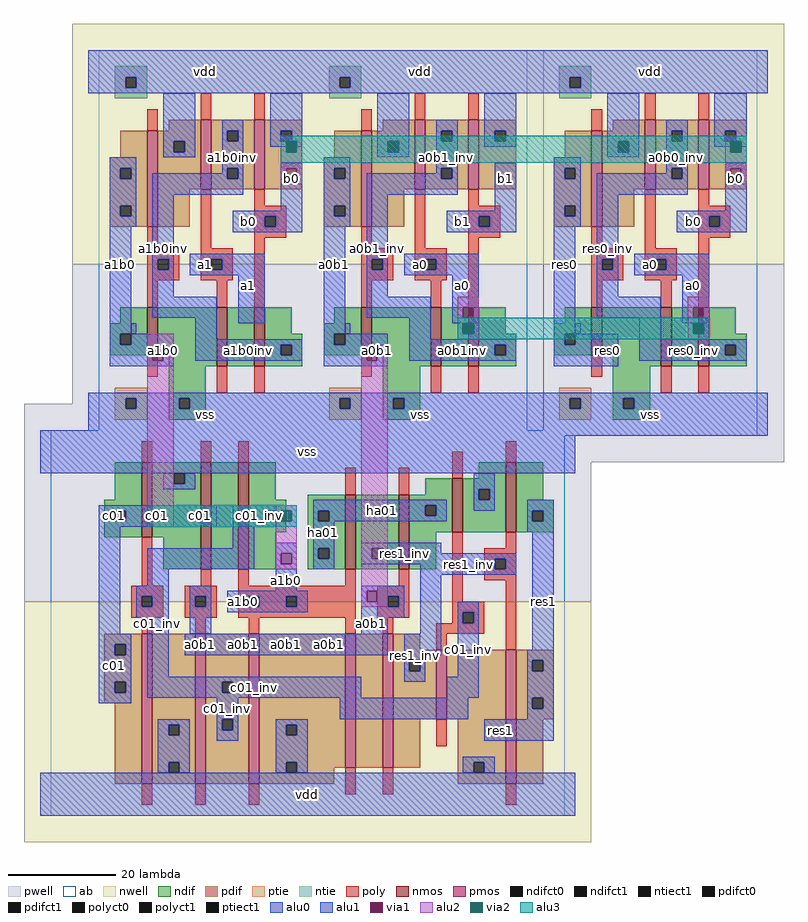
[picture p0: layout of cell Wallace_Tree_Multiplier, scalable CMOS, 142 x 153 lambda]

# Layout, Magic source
magic
tech scmos
<< ab >>
rect -35 6 45 77
rect 48 6 88 77
rect -44 5 88 6
rect -44 -66 52 5
<< nwell >>
rect -40 37 93 82
rect -49 -71 57 -26
<< pwell >>
rect -40 11 93 37
rect -49 0 93 11
rect -49 -26 57 0
<< poly >>
rect -26 62 -24 66
rect -16 64 -14 69
rect -6 64 -4 69
rect 14 62 16 66
rect 24 64 26 69
rect 34 64 36 69
rect -26 40 -24 44
rect -16 40 -14 51
rect -6 48 -4 51
rect -6 46 0 48
rect -6 44 -4 46
rect -2 44 0 46
rect 57 62 59 66
rect 67 64 69 69
rect 77 64 79 69
rect -6 42 0 44
rect -26 38 -20 40
rect -26 36 -24 38
rect -22 36 -20 38
rect -26 34 -20 36
rect -16 38 -10 40
rect -16 36 -14 38
rect -12 36 -10 38
rect -16 34 -10 36
rect -26 29 -24 34
rect -13 29 -11 34
rect -6 29 -4 42
rect 14 40 16 44
rect 24 40 26 51
rect 34 48 36 51
rect 34 46 40 48
rect 34 44 36 46
rect 38 44 40 46
rect 34 42 40 44
rect 14 38 20 40
rect 14 36 16 38
rect 18 36 20 38
rect 14 34 20 36
rect 24 38 30 40
rect 24 36 26 38
rect 28 36 30 38
rect 24 34 30 36
rect 14 29 16 34
rect 27 29 29 34
rect 34 29 36 42
rect 57 40 59 44
rect 67 40 69 51
rect 77 48 79 51
rect 77 46 83 48
rect 77 44 79 46
rect 81 44 83 46
rect 77 42 83 44
rect 57 38 63 40
rect 57 36 59 38
rect 61 36 63 38
rect 57 34 63 36
rect 67 38 73 40
rect 67 36 69 38
rect 71 36 73 38
rect 67 34 73 36
rect 57 29 59 34
rect 70 29 72 34
rect 77 29 79 42
rect -26 16 -24 20
rect -13 13 -11 18
rect -6 13 -4 18
rect 14 16 16 20
rect 27 13 29 18
rect 34 13 36 18
rect 57 16 59 20
rect 70 13 72 18
rect 77 13 79 18
rect -27 0 -25 4
rect -16 0 -14 4
rect -9 0 -7 4
rect -27 -23 -25 -14
rect 11 -6 13 -1
rect 21 -6 23 -1
rect 31 -3 33 2
rect 41 0 43 4
rect -16 -23 -14 -20
rect -9 -23 -7 -20
rect 11 -23 13 -20
rect 21 -23 23 -20
rect -29 -25 -23 -23
rect -29 -27 -27 -25
rect -25 -27 -23 -25
rect -29 -29 -23 -27
rect -19 -25 -13 -23
rect -19 -27 -17 -25
rect -15 -27 -13 -25
rect -19 -29 -13 -27
rect -9 -25 13 -23
rect -9 -27 -7 -25
rect -5 -27 0 -25
rect 2 -27 13 -25
rect -9 -29 13 -27
rect 17 -25 23 -23
rect 17 -27 19 -25
rect 21 -27 23 -25
rect 17 -29 23 -27
rect 31 -26 33 -13
rect 41 -16 43 -13
rect 37 -18 43 -16
rect 37 -20 39 -18
rect 41 -20 43 -18
rect 37 -22 43 -20
rect 31 -28 37 -26
rect -27 -32 -25 -29
rect -17 -32 -15 -29
rect -7 -32 -5 -29
rect 11 -32 13 -29
rect 18 -32 20 -29
rect 31 -30 33 -28
rect 35 -30 37 -28
rect 28 -32 37 -30
rect 28 -35 30 -32
rect 41 -35 43 -22
rect 28 -53 30 -48
rect -27 -64 -25 -60
rect -17 -64 -15 -60
rect -7 -64 -5 -60
rect 11 -62 13 -57
rect 18 -62 20 -57
rect 41 -64 43 -60
<< ndif >>
rect -31 26 -26 29
rect -33 24 -26 26
rect -33 22 -31 24
rect -29 22 -26 24
rect -33 20 -26 22
rect -24 20 -13 29
rect -22 18 -13 20
rect -11 18 -6 29
rect -4 24 1 29
rect 9 26 14 29
rect 7 24 14 26
rect -4 22 3 24
rect -4 20 -1 22
rect 1 20 3 22
rect 7 22 9 24
rect 11 22 14 24
rect 7 20 14 22
rect 16 20 27 29
rect -4 18 3 20
rect -22 12 -15 18
rect 18 18 27 20
rect 29 18 34 29
rect 36 24 41 29
rect 52 26 57 29
rect 50 24 57 26
rect 36 22 43 24
rect 36 20 39 22
rect 41 20 43 22
rect 50 22 52 24
rect 54 22 57 24
rect 50 20 57 22
rect 59 20 70 29
rect 36 18 43 20
rect -22 10 -20 12
rect -18 10 -15 12
rect -22 8 -15 10
rect 18 12 25 18
rect 61 18 70 20
rect 72 18 77 29
rect 79 24 84 29
rect 79 22 86 24
rect 79 20 82 22
rect 84 20 86 22
rect 79 18 86 20
rect 18 10 20 12
rect 22 10 25 12
rect 18 8 25 10
rect 61 12 68 18
rect 61 10 63 12
rect 65 10 68 12
rect 61 8 68 10
rect -32 -7 -27 0
rect -34 -9 -27 -7
rect -34 -11 -32 -9
rect -30 -11 -27 -9
rect -34 -14 -27 -11
rect -25 -2 -16 0
rect -25 -4 -21 -2
rect -19 -4 -16 -2
rect -25 -14 -16 -4
rect -23 -20 -16 -14
rect -14 -20 -9 0
rect -7 -7 -2 0
rect 36 -3 41 0
rect 26 -6 31 -3
rect -7 -9 0 -7
rect -7 -11 -4 -9
rect -2 -11 0 -9
rect -7 -13 0 -11
rect 4 -9 11 -6
rect 4 -11 6 -9
rect 8 -11 11 -9
rect -7 -20 -2 -13
rect 4 -16 11 -11
rect 4 -18 6 -16
rect 8 -18 11 -16
rect 4 -20 11 -18
rect 13 -16 21 -6
rect 13 -18 16 -16
rect 18 -18 21 -16
rect 13 -20 21 -18
rect 23 -8 31 -6
rect 23 -10 26 -8
rect 28 -10 31 -8
rect 23 -13 31 -10
rect 33 -5 41 -3
rect 33 -7 36 -5
rect 38 -7 41 -5
rect 33 -13 41 -7
rect 43 -7 48 0
rect 43 -9 50 -7
rect 43 -11 46 -9
rect 48 -11 50 -9
rect 43 -13 50 -11
rect 23 -20 28 -13
<< pdif >>
rect -22 62 -16 64
rect -31 57 -26 62
rect -33 55 -26 57
rect -33 53 -31 55
rect -29 53 -26 55
rect -33 48 -26 53
rect -33 46 -31 48
rect -29 46 -26 48
rect -33 44 -26 46
rect -24 60 -16 62
rect -24 58 -21 60
rect -19 58 -16 60
rect -24 51 -16 58
rect -14 62 -6 64
rect -14 60 -11 62
rect -9 60 -6 62
rect -14 55 -6 60
rect -14 53 -11 55
rect -9 53 -6 55
rect -14 51 -6 53
rect -4 62 3 64
rect 18 62 24 64
rect -4 60 -1 62
rect 1 60 3 62
rect -4 51 3 60
rect 9 57 14 62
rect 7 55 14 57
rect 7 53 9 55
rect 11 53 14 55
rect -24 44 -18 51
rect 7 48 14 53
rect 7 46 9 48
rect 11 46 14 48
rect 7 44 14 46
rect 16 60 24 62
rect 16 58 19 60
rect 21 58 24 60
rect 16 51 24 58
rect 26 62 34 64
rect 26 60 29 62
rect 31 60 34 62
rect 26 55 34 60
rect 26 53 29 55
rect 31 53 34 55
rect 26 51 34 53
rect 36 62 43 64
rect 61 62 67 64
rect 36 60 39 62
rect 41 60 43 62
rect 36 51 43 60
rect 52 57 57 62
rect 50 55 57 57
rect 50 53 52 55
rect 54 53 57 55
rect 16 44 22 51
rect 50 48 57 53
rect 50 46 52 48
rect 54 46 57 48
rect 50 44 57 46
rect 59 60 67 62
rect 59 58 62 60
rect 64 58 67 60
rect 59 51 67 58
rect 69 62 77 64
rect 69 60 72 62
rect 74 60 77 62
rect 69 55 77 60
rect 69 53 72 55
rect 74 53 77 55
rect 69 51 77 53
rect 79 62 86 64
rect 79 60 82 62
rect 84 60 86 62
rect 79 51 86 60
rect 59 44 65 51
rect -34 -34 -27 -32
rect -34 -36 -32 -34
rect -30 -36 -27 -34
rect -34 -41 -27 -36
rect -34 -43 -32 -41
rect -30 -43 -27 -41
rect -34 -45 -27 -43
rect -32 -60 -27 -45
rect -25 -49 -17 -32
rect -25 -51 -22 -49
rect -20 -51 -17 -49
rect -25 -56 -17 -51
rect -25 -58 -22 -56
rect -20 -58 -17 -56
rect -25 -60 -17 -58
rect -15 -41 -7 -32
rect -15 -43 -12 -41
rect -10 -43 -7 -41
rect -15 -48 -7 -43
rect -15 -50 -12 -48
rect -10 -50 -7 -48
rect -15 -60 -7 -50
rect -5 -49 11 -32
rect -5 -51 0 -49
rect 2 -51 11 -49
rect -5 -56 11 -51
rect -5 -58 0 -56
rect 2 -57 11 -56
rect 13 -57 18 -32
rect 20 -35 25 -32
rect 20 -37 28 -35
rect 20 -39 23 -37
rect 25 -39 28 -37
rect 20 -48 28 -39
rect 30 -48 41 -35
rect 20 -57 25 -48
rect 32 -56 41 -48
rect 2 -58 9 -57
rect -5 -60 9 -58
rect 32 -58 35 -56
rect 37 -58 41 -56
rect 32 -60 41 -58
rect 43 -37 50 -35
rect 43 -39 46 -37
rect 48 -39 50 -37
rect 43 -44 50 -39
rect 43 -46 46 -44
rect 48 -46 50 -44
rect 43 -48 50 -46
rect 43 -60 48 -48
<< alu1 >>
rect -37 72 90 77
rect -37 70 -30 72
rect -28 70 10 72
rect 12 70 53 72
rect 55 70 90 72
rect -37 69 90 70
rect -33 55 -28 57
rect -33 53 -31 55
rect -29 53 -28 55
rect -33 48 -28 53
rect -33 46 -31 48
rect -29 46 -28 48
rect -33 44 -28 46
rect -1 55 3 56
rect -1 53 0 55
rect 2 53 3 55
rect -33 24 -29 44
rect -1 47 3 53
rect -10 46 3 47
rect -10 44 -4 46
rect -2 44 3 46
rect -10 43 3 44
rect 7 55 12 57
rect 7 53 9 55
rect 11 53 12 55
rect 7 48 12 53
rect 7 46 9 48
rect 11 46 12 48
rect 7 44 12 46
rect -18 38 -4 39
rect -18 36 -14 38
rect -12 36 -4 38
rect -18 35 -4 36
rect -33 22 -31 24
rect -29 22 -21 24
rect -33 21 -21 22
rect -33 19 -25 21
rect -23 19 -21 21
rect -9 26 -4 35
rect 7 24 11 44
rect 39 47 43 56
rect 30 46 43 47
rect 30 44 36 46
rect 38 44 43 46
rect 30 43 43 44
rect 50 55 55 57
rect 50 53 52 55
rect 54 53 55 55
rect 50 48 55 53
rect 50 46 52 48
rect 54 46 55 48
rect 50 44 55 46
rect 82 55 86 56
rect 82 53 83 55
rect 85 53 86 55
rect 22 38 36 39
rect 22 36 26 38
rect 28 36 36 38
rect 22 35 36 36
rect 7 22 9 24
rect 11 22 19 24
rect 7 21 19 22
rect 7 19 15 21
rect 17 19 19 21
rect 31 29 36 35
rect 31 27 33 29
rect 35 27 36 29
rect 31 26 36 27
rect 50 24 54 44
rect 82 47 86 53
rect 73 46 86 47
rect 73 44 79 46
rect 81 44 86 46
rect 73 43 86 44
rect 65 38 79 39
rect 65 36 69 38
rect 71 36 79 38
rect 65 35 79 36
rect 50 22 52 24
rect 54 22 62 24
rect -33 18 -21 19
rect 7 18 19 19
rect 50 18 62 22
rect 74 29 79 35
rect 74 27 76 29
rect 78 27 79 29
rect 74 26 79 27
rect -37 12 90 13
rect -37 10 -30 12
rect -28 10 -20 12
rect -18 10 10 12
rect 12 10 20 12
rect 22 10 53 12
rect 55 10 63 12
rect 65 10 90 12
rect -37 6 90 10
rect -46 5 90 6
rect -46 -2 54 5
rect -35 -9 -13 -8
rect -35 -11 -32 -9
rect -30 -11 -13 -9
rect -35 -12 -13 -11
rect 45 -9 50 -7
rect 45 -11 46 -9
rect 48 -11 50 -9
rect -35 -32 -31 -12
rect -2 -17 2 -15
rect -2 -19 -1 -17
rect 1 -19 2 -17
rect -35 -34 -29 -32
rect -35 -36 -32 -34
rect -30 -36 -29 -34
rect -35 -41 -29 -36
rect -35 -43 -32 -41
rect -30 -43 -29 -41
rect -35 -45 -29 -43
rect -2 -24 2 -19
rect 45 -13 50 -11
rect 14 -24 22 -23
rect -11 -25 4 -24
rect -11 -27 -7 -25
rect -5 -27 0 -25
rect 2 -27 4 -25
rect -11 -28 4 -27
rect 14 -26 15 -24
rect 17 -25 22 -24
rect 17 -26 19 -25
rect 14 -27 19 -26
rect 21 -27 22 -25
rect 14 -29 22 -27
rect 14 -32 19 -29
rect -19 -36 19 -32
rect 46 -35 50 -13
rect 45 -37 50 -35
rect 45 -39 46 -37
rect 48 -39 50 -37
rect 45 -44 50 -39
rect 45 -46 46 -44
rect 48 -46 50 -44
rect 45 -48 50 -46
rect 37 -52 50 -48
rect -46 -66 54 -58
<< alu2 >>
rect -1 60 3 61
rect -1 58 0 60
rect 2 58 3 60
rect -1 55 3 58
rect -1 53 0 55
rect 2 53 3 55
rect -1 52 3 53
rect 82 60 86 61
rect 82 58 83 60
rect 85 58 86 60
rect 82 55 86 58
rect 82 53 83 55
rect 85 53 86 55
rect 82 52 86 53
rect 32 29 36 31
rect 32 27 33 29
rect 35 27 36 29
rect 32 26 36 27
rect 32 24 33 26
rect 35 24 36 26
rect -26 21 -21 24
rect 32 23 36 24
rect 75 29 79 31
rect 75 27 76 29
rect 78 27 79 29
rect 75 26 79 27
rect 75 24 76 26
rect 78 24 79 26
rect 75 23 79 24
rect -26 19 -25 21
rect -23 19 -21 21
rect -26 -9 -21 19
rect 14 21 19 22
rect 14 19 15 21
rect 17 19 19 21
rect -26 -11 -25 -9
rect -23 -11 -21 -9
rect -26 -12 -21 -11
rect -2 -9 2 -8
rect -2 -11 -1 -9
rect 1 -11 2 -9
rect -2 -17 2 -11
rect -2 -19 -1 -17
rect 1 -19 2 -17
rect -2 -20 2 -19
rect 14 -24 19 19
rect 14 -26 15 -24
rect 17 -26 19 -24
rect 14 -27 19 -26
<< alu3 >>
rect -1 60 86 61
rect -1 58 0 60
rect 2 58 83 60
rect 85 58 86 60
rect -1 56 86 58
rect 32 26 79 27
rect 32 24 33 26
rect 35 24 76 26
rect 78 24 79 26
rect 32 23 79 24
rect -26 -9 2 -8
rect -26 -11 -25 -9
rect -23 -11 -1 -9
rect 1 -11 2 -9
rect -26 -12 2 -11
<< ptie >>
rect -32 12 -26 14
rect -32 10 -30 12
rect -28 10 -26 12
rect -32 8 -26 10
rect 8 12 14 14
rect 8 10 10 12
rect 12 10 14 12
rect 8 8 14 10
rect 51 12 57 14
rect 51 10 53 12
rect 55 10 57 12
rect 51 8 57 10
<< ntie >>
rect -32 72 -26 74
rect -32 70 -30 72
rect -28 70 -26 72
rect -32 68 -26 70
rect 8 72 14 74
rect 8 70 10 72
rect 12 70 14 72
rect 8 68 14 70
rect 51 72 57 74
rect 51 70 53 72
rect 55 70 57 72
rect 51 68 57 70
<< nmos >>
rect -26 20 -24 29
rect -13 18 -11 29
rect -6 18 -4 29
rect 14 20 16 29
rect 27 18 29 29
rect 34 18 36 29
rect 57 20 59 29
rect 70 18 72 29
rect 77 18 79 29
rect -27 -14 -25 0
rect -16 -20 -14 0
rect -9 -20 -7 0
rect 11 -20 13 -6
rect 21 -20 23 -6
rect 31 -13 33 -3
rect 41 -13 43 0
<< pmos >>
rect -26 44 -24 62
rect -16 51 -14 64
rect -6 51 -4 64
rect 14 44 16 62
rect 24 51 26 64
rect 34 51 36 64
rect 57 44 59 62
rect 67 51 69 64
rect 77 51 79 64
rect -27 -60 -25 -32
rect -17 -60 -15 -32
rect -7 -60 -5 -32
rect 11 -57 13 -32
rect 18 -57 20 -32
rect 28 -48 30 -35
rect 41 -60 43 -35
<< polyct0 >>
rect -24 36 -22 38
rect 16 36 18 38
rect 59 36 61 38
rect -27 -27 -25 -25
rect -17 -27 -15 -25
rect 39 -20 41 -18
rect 33 -30 35 -28
<< polyct1 >>
rect -4 44 -2 46
rect -14 36 -12 38
rect 36 44 38 46
rect 26 36 28 38
rect 79 44 81 46
rect 69 36 71 38
rect -7 -27 -5 -25
rect 0 -27 2 -25
rect 19 -27 21 -25
<< ndifct0 >>
rect -1 20 1 22
rect 39 20 41 22
rect 82 20 84 22
rect -21 -4 -19 -2
rect -4 -11 -2 -9
rect 6 -11 8 -9
rect 6 -18 8 -16
rect 16 -18 18 -16
rect 26 -10 28 -8
rect 36 -7 38 -5
<< ndifct1 >>
rect -31 22 -29 24
rect 9 22 11 24
rect 52 22 54 24
rect -20 10 -18 12
rect 20 10 22 12
rect 63 10 65 12
rect -32 -11 -30 -9
rect 46 -11 48 -9
<< ntiect1 >>
rect -30 70 -28 72
rect 10 70 12 72
rect 53 70 55 72
<< ptiect1 >>
rect -30 10 -28 12
rect 10 10 12 12
rect 53 10 55 12
<< pdifct0 >>
rect -21 58 -19 60
rect -11 60 -9 62
rect -11 53 -9 55
rect -1 60 1 62
rect 19 58 21 60
rect 29 60 31 62
rect 29 53 31 55
rect 39 60 41 62
rect 62 58 64 60
rect 72 60 74 62
rect 72 53 74 55
rect 82 60 84 62
rect -22 -51 -20 -49
rect -22 -58 -20 -56
rect -12 -43 -10 -41
rect -12 -50 -10 -48
rect 0 -51 2 -49
rect 0 -58 2 -56
rect 23 -39 25 -37
rect 35 -58 37 -56
<< pdifct1 >>
rect -31 53 -29 55
rect -31 46 -29 48
rect 9 53 11 55
rect 9 46 11 48
rect 52 53 54 55
rect 52 46 54 48
rect -32 -36 -30 -34
rect -32 -43 -30 -41
rect 46 -39 48 -37
rect 46 -46 48 -44
<< alu0 >>
rect -23 60 -17 69
rect -23 58 -21 60
rect -19 58 -17 60
rect -23 57 -17 58
rect -12 62 -8 64
rect -12 60 -11 62
rect -9 60 -8 62
rect -12 55 -8 60
rect -3 62 3 69
rect -3 60 -1 62
rect 1 60 3 62
rect -3 59 3 60
rect 17 60 23 69
rect 17 58 19 60
rect 21 58 23 60
rect 17 57 23 58
rect 28 62 32 64
rect 28 60 29 62
rect 31 60 32 62
rect -12 54 -11 55
rect -25 53 -11 54
rect -9 53 -8 55
rect -25 50 -8 53
rect -25 38 -21 50
rect 28 55 32 60
rect 37 62 43 69
rect 37 60 39 62
rect 41 60 43 62
rect 37 59 43 60
rect 60 60 66 69
rect 60 58 62 60
rect 64 58 66 60
rect 60 57 66 58
rect 71 62 75 64
rect 71 60 72 62
rect 74 60 75 62
rect 28 54 29 55
rect 15 53 29 54
rect 31 53 32 55
rect 15 50 32 53
rect -25 36 -24 38
rect -22 36 -21 38
rect -25 31 -21 36
rect -25 27 -13 31
rect -29 24 -28 26
rect -17 23 -13 27
rect 15 38 19 50
rect 71 55 75 60
rect 80 62 86 69
rect 80 60 82 62
rect 84 60 86 62
rect 80 59 86 60
rect 71 54 72 55
rect 58 53 72 54
rect 74 53 75 55
rect 58 50 75 53
rect 15 36 16 38
rect 18 36 19 38
rect 15 31 19 36
rect 15 27 27 31
rect 11 24 12 26
rect -17 22 3 23
rect -17 20 -1 22
rect 1 20 3 22
rect -17 19 3 20
rect 23 23 27 27
rect 58 38 62 50
rect 58 36 59 38
rect 61 36 62 38
rect 58 31 62 36
rect 58 27 70 31
rect 54 24 55 26
rect 23 22 43 23
rect 23 20 39 22
rect 41 20 43 22
rect 23 19 43 20
rect 66 23 70 27
rect 66 22 86 23
rect 66 20 82 22
rect 84 20 86 22
rect 66 19 86 20
rect -23 -4 -21 -2
rect -19 -4 -17 -2
rect -23 -5 -17 -4
rect 35 -5 39 -2
rect 35 -7 36 -5
rect 38 -7 39 -5
rect 5 -8 30 -7
rect -10 -9 0 -8
rect -10 -11 -4 -9
rect -2 -11 0 -9
rect -10 -12 0 -11
rect 5 -9 26 -8
rect 5 -11 6 -9
rect 8 -10 26 -9
rect 28 -10 30 -8
rect 35 -9 39 -7
rect 8 -11 30 -10
rect -10 -16 -6 -12
rect -26 -20 -6 -16
rect -26 -23 -22 -20
rect -28 -25 -22 -23
rect -28 -27 -27 -25
rect -25 -27 -22 -25
rect -28 -29 -22 -27
rect -26 -40 -22 -29
rect -18 -25 -14 -23
rect 5 -16 9 -11
rect 5 -18 6 -16
rect 8 -18 9 -16
rect 5 -20 9 -18
rect 14 -16 29 -15
rect 14 -18 16 -16
rect 18 -17 29 -16
rect 18 -18 43 -17
rect 14 -19 39 -18
rect 25 -20 39 -19
rect 41 -20 43 -18
rect 25 -21 43 -20
rect -18 -27 -17 -25
rect -15 -27 -14 -25
rect -18 -32 -14 -27
rect 25 -32 29 -21
rect 22 -36 29 -32
rect 32 -28 36 -26
rect 32 -30 33 -28
rect 35 -30 36 -28
rect 22 -37 26 -36
rect 22 -39 23 -37
rect 25 -39 26 -37
rect -26 -41 14 -40
rect 22 -41 26 -39
rect 32 -40 36 -30
rect -26 -43 -12 -41
rect -10 -43 14 -41
rect -26 -44 14 -43
rect 30 -44 36 -40
rect -13 -48 -9 -44
rect 10 -48 34 -44
rect -24 -49 -18 -48
rect -24 -51 -22 -49
rect -20 -51 -18 -49
rect -24 -56 -18 -51
rect -13 -50 -12 -48
rect -10 -50 -9 -48
rect -13 -52 -9 -50
rect -2 -49 4 -48
rect -2 -51 0 -49
rect 2 -51 4 -49
rect -24 -58 -22 -56
rect -20 -58 -18 -56
rect -2 -56 4 -51
rect -2 -58 0 -56
rect 2 -58 4 -56
rect 33 -56 39 -55
rect 33 -58 35 -56
rect 37 -58 39 -56
<< via1 >>
rect 0 53 2 55
rect -25 19 -23 21
rect 83 53 85 55
rect 15 19 17 21
rect 33 27 35 29
rect 76 27 78 29
rect -1 -19 1 -17
rect 15 -26 17 -24
<< via2 >>
rect 0 58 2 60
rect 83 58 85 60
rect 33 24 35 26
rect 76 24 78 26
rect -25 -11 -23 -9
rect -1 -11 1 -9
<< labels >>
rlabel alu1 25 9 25 9 6 vss
rlabel alu1 25 73 25 73 6 vdd
rlabel alu1 25 37 25 37 1 a0
rlabel alu1 33 33 33 33 1 a0
rlabel alu1 33 45 33 45 1 b1
rlabel alu1 41 53 41 53 1 b1
rlabel alu1 9 37 9 37 1 a0b1
rlabel alu1 17 21 17 21 1 a0b1
rlabel alu0 17 40 17 40 1 a0b1_inv
rlabel alu0 30 57 30 57 1 a0b1_inv
rlabel alu1 -15 9 -15 9 6 vss
rlabel alu1 -15 73 -15 73 6 vdd
rlabel alu1 -15 37 -15 37 1 a1
rlabel alu1 -7 33 -7 33 1 a1
rlabel alu1 -7 45 -7 45 1 b0
rlabel alu1 -31 37 -31 37 1 a1b0
rlabel alu1 -23 21 -23 21 1 a1b0
rlabel alu0 33 21 33 21 1 a0b1inv
rlabel alu0 -10 57 -10 57 1 a1b0inv
rlabel alu0 -23 40 -23 40 1 a1b0inv
rlabel alu0 -7 21 -7 21 1 a1b0inv
rlabel alu1 4 -62 4 -62 2 vdd
rlabel alu1 4 2 4 2 2 vss
rlabel ndifct1 -32 -10 -32 -10 1 c01
rlabel alu1 -24 -10 -24 -10 1 c01
rlabel alu1 -16 -10 -16 -10 1 c01
rlabel alu1 -32 -38 -32 -38 1 c01
rlabel alu0 -5 -10 -5 -10 1 c01_inv
rlabel alu0 -24 -30 -24 -30 1 c01_inv
rlabel alu0 -11 -46 -11 -46 1 c01_inv
rlabel alu0 -6 -42 -6 -42 1 c01_inv
rlabel alu1 48 -26 48 -26 1 res1
rlabel alu1 40 -50 40 -50 1 res1
rlabel alu0 34 -35 34 -35 1 c01_inv
rlabel alu0 34 -19 34 -19 1 res1_inv
rlabel alu0 24 -36 24 -36 1 res1_inv
rlabel alu0 22 -17 22 -17 1 res1_inv
rlabel alu0 7 -13 7 -13 1 ha01
rlabel alu0 18 -9 18 -9 1 ha01
rlabel alu1 0 -22 0 -22 1 a1b0
rlabel alu1 -8 -26 -8 -26 1 a1b0
rlabel alu1 -16 -34 -16 -34 1 a0b1
rlabel alu1 -8 -34 -8 -34 1 a0b1
rlabel alu1 0 -34 0 -34 1 a0b1
rlabel alu1 8 -34 8 -34 1 a0b1
rlabel alu1 16 -30 16 -30 1 a0b1
rlabel alu1 68 9 68 9 6 vss
rlabel alu1 68 73 68 73 6 vdd
rlabel alu1 68 37 68 37 1 a0
rlabel alu1 76 33 76 33 1 a0
rlabel alu1 76 45 76 45 1 b0
rlabel alu0 73 57 73 57 1 a0b0_inv
rlabel alu1 1 53 1 53 1 b0
rlabel alu1 84 53 84 53 1 b0
rlabel alu1 52 37 52 37 1 res0
rlabel alu1 60 21 60 21 1 res0
rlabel alu0 76 21 76 21 1 res0_inv
rlabel alu0 60 40 60 40 1 res0_inv
<< end >>
